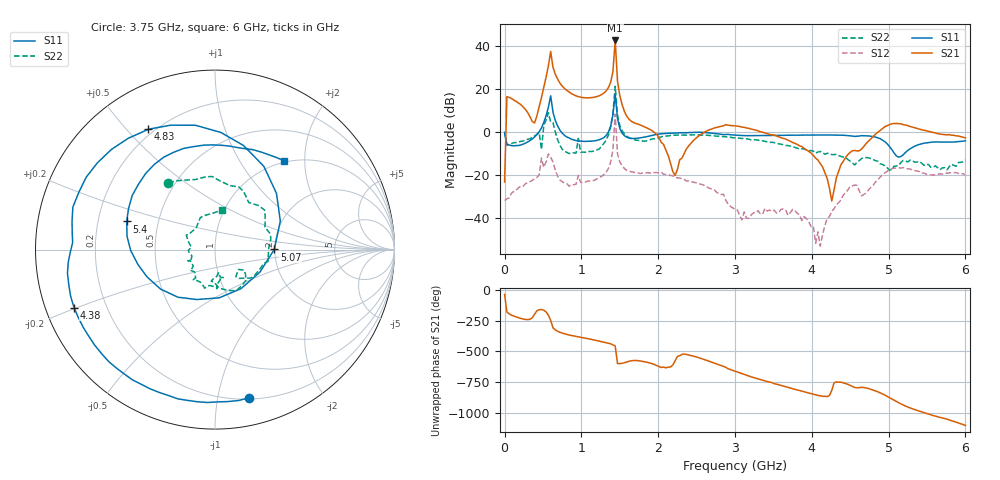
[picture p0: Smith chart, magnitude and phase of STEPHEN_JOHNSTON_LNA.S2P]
!Agilent Technologies,E5071C,MY46107106,A.09.54
!Date: Mon Jan 01 00:19:40 2001
!Data & Calibration Information:
!Freq	S11:SOLT2(ON)	S21:SOLT2(ON)	S12:SOLT2(ON)	S22:SOLT2(ON)
# Hz S dB R 50
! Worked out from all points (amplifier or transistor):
!   201 points, 300 kHz to 6 GHz, reference 50 ohm
!   highest |S21| = 42.7 dB at 1.44 GHz (marker M1)
!   |S21| within 3 dB of that: 1.434 GHz to 1.445 GHz (10.87 MHz wide, 0.755 % of centre)
!   unconditionally stable (mu >= 1): start of sweep to 383.5 MHz; 1.61 GHz to 2.242 GHz; 2.885 GHz to end of sweep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
!   at 990.3 MHz: K = 0.97, MSG = 19.9 dB, |S12| = -23.5 dB
!   at 3 GHz: K = 2.92, MAG = 11.9 dB, |S12| = -36.0 dB
!   at 6 GHz: K = 4.14, MAG = -0.5 dB, |S12| = -20.1 dB
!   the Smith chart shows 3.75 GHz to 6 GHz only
!   S11 on the Smith chart (normalised r, x): 3.75 GHz: 0.21, -1.23; 4.38 GHz: 0.08, -0.20; 4.83 GHz: 0.18, +0.58; 5.07 GHz: 1.99, +0.00; 5.4 GHz: 0.33, +0.14; 6 GHz: 0.98, +1.59
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300000  -0.11 -8.5  -23.22 -38.7  -31.87 -175.6  -0.54 -10.5
4.20279e8  -1.16 117.4  7.49 -171.3  -21.17 -54.4  -1.11 97.0
5.40273e8  7.61 47.8  25.60 -179.8  -13.84 -107.5  5.59 45.4
5.702715e8  11.59 13.3  30.92 153.8  -10.19 -142.1  9.09 11.7
6.0027e8  16.90 -32.8  37.57 111.0  -11.68 124.9  4.72 -76.6
6.302685e8  9.24 -106.1  30.24 51.3  -13.99 100.8  4.46 -102.4
6.902655e8  2.92 -150.6  24.75 22.6  -20.52 52.6  -3.57 -151.9
1.020249e9  -4.25 89.7  16.09 -29.3  -23.29 -55.5  -9.30 53.7
1.380231e9  2.61 -28.4  23.14 -78.9  -14.05 -79.4  2.45 -73.8
1.41023e9  8.00 -52.2  28.03 -88.0  -8.46 -84.7  8.29 -94.1
1.440228e9  17.65 -145.1  42.71 -96.6  8.34 168.9  21.35 156.5
1.470226e9  6.31 122.6  23.72 120.7  -10.10 147.9  7.85 102.8
2.0102e9  -0.88 -21.3  -2.59 96.7  -19.02 80.8  -2.56 18.2
3.00015e9  -1.39 81.8  2.89 58.5  -35.99 174.3  -2.72 -116.3
3.750112e9  -1.44 -77.3  -4.85 -84.3  -36.01 -62.7  -6.86 124.9
4.020099e9  -1.37 -111.3  -10.83 -128.7  -43.79 -74.6  -8.84 63.9
4.380081e9  -1.42 -157.7  -15.18 -30.6  -31.60 -15.7  -11.33 -24.3
4.830058e9  -2.31 118.9  -0.94 -101.9  -23.27 -95.3  -13.30 -82.9
5.01005e9  -6.66 42.5  3.48 -155.9  -17.63 -145.5  -17.67 -81.6
5.070046e9  -9.63 0.1  4.01 -177.3  -16.83 -165.8  -15.93 -77.6
5.40003e9  -5.74 162.3  1.43 93.6  -18.37 107.4  -13.70 -125.8
6e9  -4.05 51.9  -2.73 -22.5  -20.07 -1.7  -13.00 80.1
